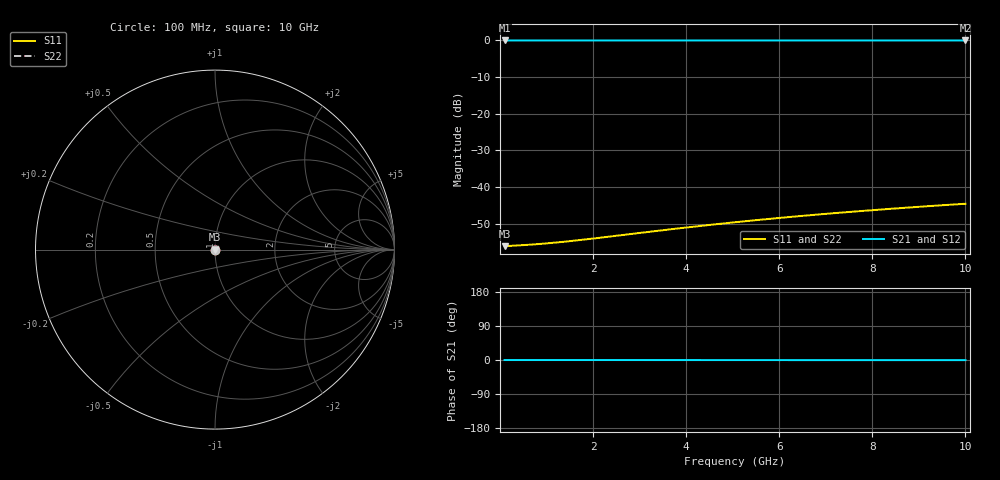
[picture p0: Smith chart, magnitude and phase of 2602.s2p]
# Hz S RI R 50.00
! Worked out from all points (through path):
!   100 points, 100 MHz to 10 GHz, reference 50 ohm
!   highest |S21| = -0.01 dB at 100 MHz (marker M1); lowest = 0.0 dB at 10 GHz (marker M2)
!   lowest |S11| = -56.1 dB at 100 MHz (marker M3), VSWR 1.00, Z = 50.2 + j0.00566 ohm
!   |S11| at or under -10 dB: start of sweep to end of sweep
!   |S22| runs from -56.1 to -44.6 dB; largest |S21 - S12| = 0
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1e8  0.00156 5.64e-05  0.9984 -6.94e-05  0.9984 -6.94e-05  0.00156 5.64e-05
6e8  0.00159 0.000339  0.9984 -0.000416  0.9984 -0.000416  0.00159 0.000339
9e8  0.0016 0.000508  0.9984 -0.000625  0.9984 -0.000625  0.0016 0.000508
1.1e9  0.00161 0.000621  0.9984 -0.000763  0.9984 -0.000763  0.00161 0.000621
1.3e9  0.00161 0.000734  0.9984 -0.000902  0.9984 -0.000902  0.00161 0.000734
1.5e9  0.00162 0.000847  0.9984 -0.00104  0.9984 -0.00104  0.00162 0.000847
1.8e9  0.00162 0.00102  0.9984 -0.00125  0.9984 -0.00125  0.00162 0.00102
2.2e9  0.00163 0.00124  0.9984 -0.00153  0.9984 -0.00153  0.00163 0.00124
3.4e9  0.00165 0.00192  0.9984 -0.00236  0.9984 -0.00236  0.00165 0.00192
3.9e9  0.00165 0.0022  0.9983 -0.00271  0.9983 -0.00271  0.00165 0.0022
4.3e9  0.00166 0.00243  0.9983 -0.00298  0.9983 -0.00298  0.00166 0.00243
4.7e9  0.00166 0.00265  0.9983 -0.00326  0.9983 -0.00326  0.00166 0.00265
5.1e9  0.00167 0.00288  0.9983 -0.00354  0.9983 -0.00354  0.00167 0.00288
5.5e9  0.00167 0.00311  0.9983 -0.00382  0.9983 -0.00382  0.00167 0.00311
5.9e9  0.00168 0.00333  0.9983 -0.0041  0.9983 -0.0041  0.00168 0.00333
6.3e9  0.00168 0.00356  0.9983 -0.00437  0.9983 -0.00437  0.00168 0.00356
6.7e9  0.00169 0.00378  0.9983 -0.00465  0.9983 -0.00465  0.00169 0.00378
7.5e9  0.0017 0.00424  0.9983 -0.00521  0.9983 -0.00521  0.0017 0.00424
7.9e9  0.0017 0.00446  0.9983 -0.00549  0.9983 -0.00549  0.0017 0.00446
8.4e9  0.00171 0.00474  0.9983 -0.00583  0.9983 -0.00583  0.00171 0.00474
9.2e9  0.00172 0.0052  0.9983 -0.00639  0.9983 -0.00639  0.00172 0.0052
1e10  0.00173 0.00565  0.9983 -0.00695  0.9983 -0.00695  0.00173 0.00565
